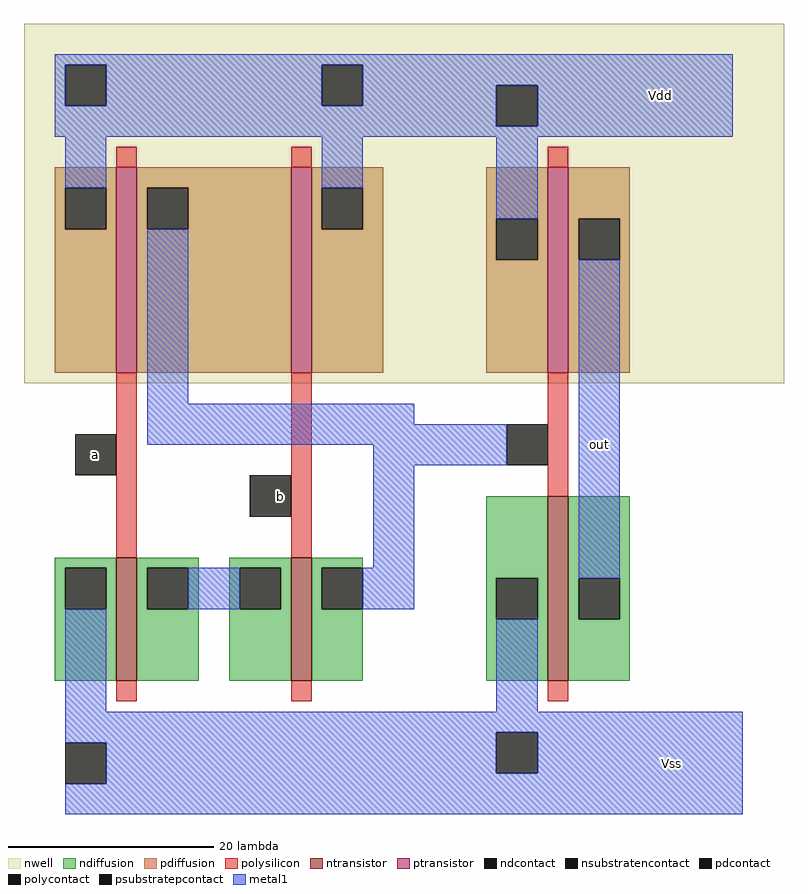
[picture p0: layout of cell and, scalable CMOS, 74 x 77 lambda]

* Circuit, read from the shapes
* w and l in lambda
.subckt and Vdd Vss a b out
M1 n1 a Vss Vss nfet w=12 l=2
M2 n2 b n1 Vss nfet w=12 l=2
M3 out n2 Vss Vss nfet w=18 l=2
M4 n2 a Vdd Vdd pfet w=20 l=2
M5 Vdd b n2 Vdd pfet w=20 l=2
M6 out n2 Vdd Vdd pfet w=20 l=2
.ends

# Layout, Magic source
magic
tech scmos
<< nwell >>
rect 1 -19 75 16
<< polysilicon >>
rect 10 2 12 4
rect 27 2 29 4
rect 52 2 54 4
rect 10 -36 12 -18
rect 27 -36 29 -18
rect 52 -30 54 -18
rect 10 -50 12 -48
rect 27 -50 29 -48
rect 52 -50 54 -48
<< ndiffusion >>
rect 4 -37 10 -36
rect 4 -41 5 -37
rect 9 -41 10 -37
rect 4 -48 10 -41
rect 12 -37 18 -36
rect 12 -41 13 -37
rect 17 -41 18 -37
rect 12 -48 18 -41
rect 21 -37 27 -36
rect 21 -41 22 -37
rect 26 -41 27 -37
rect 21 -48 27 -41
rect 29 -37 34 -36
rect 29 -41 30 -37
rect 29 -48 34 -41
rect 46 -38 52 -30
rect 46 -42 47 -38
rect 51 -42 52 -38
rect 46 -48 52 -42
rect 54 -38 60 -30
rect 54 -42 55 -38
rect 59 -42 60 -38
rect 54 -48 60 -42
<< pdiffusion >>
rect 4 0 10 2
rect 4 -4 5 0
rect 9 -4 10 0
rect 4 -18 10 -4
rect 12 0 27 2
rect 12 -4 13 0
rect 17 -4 27 0
rect 12 -18 27 -4
rect 29 0 36 2
rect 29 -4 30 0
rect 34 -4 36 0
rect 29 -18 36 -4
rect 46 -3 52 2
rect 46 -7 47 -3
rect 51 -7 52 -3
rect 46 -18 52 -7
rect 54 -3 60 2
rect 54 -7 55 -3
rect 59 -7 60 -3
rect 54 -18 60 -7
<< metal1 >>
rect 4 12 70 13
rect 4 8 5 12
rect 9 8 30 12
rect 34 10 70 12
rect 34 8 47 10
rect 4 6 47 8
rect 51 6 70 10
rect 4 5 70 6
rect 5 0 9 5
rect 30 0 34 5
rect 47 -3 51 5
rect 13 -21 17 -4
rect 13 -23 39 -21
rect 13 -25 48 -23
rect 35 -27 48 -25
rect 35 -37 39 -27
rect 17 -41 22 -37
rect 34 -41 39 -37
rect 55 -38 59 -7
rect 5 -51 9 -41
rect 47 -51 51 -42
rect 5 -53 71 -51
rect 5 -54 47 -53
rect 9 -57 47 -54
rect 51 -57 71 -53
rect 9 -58 71 -57
rect 5 -61 71 -58
<< ntransistor >>
rect 10 -48 12 -36
rect 27 -48 29 -36
rect 52 -48 54 -30
<< ptransistor >>
rect 10 -18 12 2
rect 27 -18 29 2
rect 52 -18 54 2
<< polycontact >>
rect 6 -28 10 -24
rect 23 -32 27 -28
rect 48 -27 52 -23
<< ndcontact >>
rect 5 -41 9 -37
rect 13 -41 17 -37
rect 22 -41 26 -37
rect 30 -41 34 -37
rect 47 -42 51 -38
rect 55 -42 59 -38
<< pdcontact >>
rect 5 -4 9 0
rect 13 -4 17 0
rect 30 -4 34 0
rect 47 -7 51 -3
rect 55 -7 59 -3
<< psubstratepcontact >>
rect 5 -58 9 -54
rect 47 -57 51 -53
<< nsubstratencontact >>
rect 5 8 9 12
rect 30 8 34 12
rect 47 6 51 10
<< labels >>
rlabel metal1 57 -25 57 -25 1 out
rlabel metal1 63 9 63 9 5 Vdd
rlabel metal1 64 -56 64 -56 1 Vss
rlabel polycontact 26 -30 26 -30 1 b
rlabel polycontact 8 -26 8 -26 3 a
<< end >>
